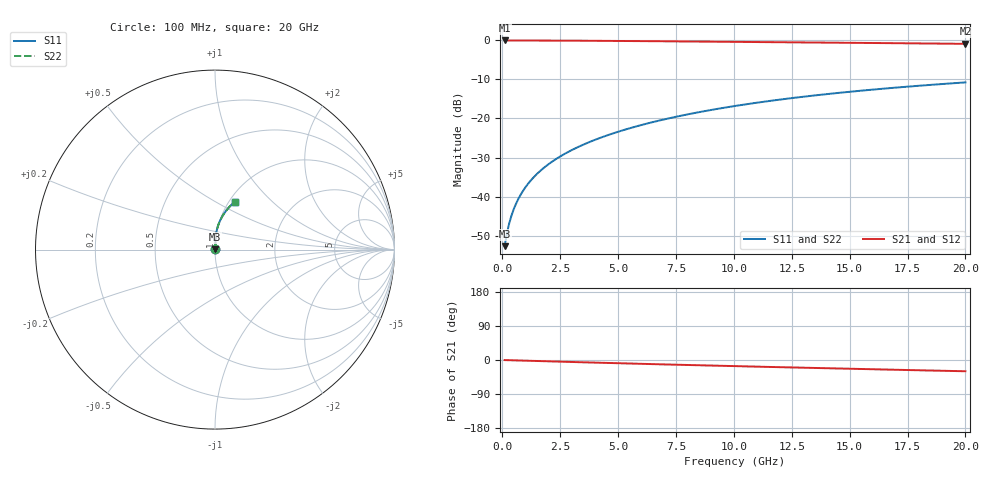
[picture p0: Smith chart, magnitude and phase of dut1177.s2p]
! Touchstone file exported from HFSS 2024.1.0
!  File:  C:/UserFiles/LocalFiles/RDL_TSV_Batchsim/temp_RDL_top_1177_1780049105.aedt
!  Generated:  06:07:26 PM May 29, 2026
!  Design:  RDL_top
!  Project:  temp_RDL_top_1177_1780049105
!  Setup:  Setup1
!  Solution:  Sweep
! Variables:
!  dtsv = 10.80580581um
!  hbump = 3um
!  htsv = 93.93um
!  ldown = 100um
!  lrdl = 393.94um
!  p = 40
!  p1 = 53.47um
!  rhole = 1um
!  t = 450um
!  tdown = 3.915915916um
!  trdl = 3.64um
!  wdown = 15.38538539um
!  wrdl = 23.79um
# GHz S MA R 50.000000
! Terminal data exported
! Port[1] = Box2_T1
! Port[2] = Box2_T2
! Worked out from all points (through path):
!   200 points, 100 MHz to 20 GHz, reference 50 ohm
!   highest |S21| = -0.02 dB at 100 MHz (marker M1); lowest = -0.9 dB at 20 GHz (marker M2)
!   group delay of S21, straight-line fit = 4.09 ps
!   lowest |S11| = -52.7 dB at 100 MHz (marker M3), VSWR 1.00, Z = 50.2 + j0.143 ohm
!   |S11| at or under -10 dB: start of sweep to end of sweep
!   |S22| runs from -52.7 to -10.8 dB; largest |S21 - S12| = 2.7e-15
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0.1  0.002314 37.9  0.9982 -0.2  0.9982 -0.2  0.002314 37.9
! Gamma 0 0 0 0
! Port Impedance 50 0 50 0
0.2  0.003381 55.4  0.9981 -0.4  0.9981 -0.4  0.003381 55.4
0.3  0.004555 63.8  0.9979 -0.5  0.9979 -0.5  0.004555 63.8
0.4  0.005751 68.8  0.9978 -0.7  0.9978 -0.7  0.005751 68.8
0.5  0.006959 72.2  0.9977 -0.9  0.9977 -0.9  0.006959 72.2
0.6  0.008178 74.7  0.9976 -1.1  0.9976 -1.1  0.008178 74.7
0.8  0.01065 78.1  0.9973 -1.4  0.9973 -1.4  0.01065 78.1
1.1  0.01442 81.2  0.9969 -1.9  0.9969 -1.9  0.01442 81.2
1.5  0.01953 83.5  0.9963 -2.6  0.9963 -2.6  0.01953 83.5
1.8  0.02341 84.6  0.9956 -3.2  0.9956 -3.2  0.02341 84.6
2.1  0.02734 85.4  0.9949 -3.7  0.9949 -3.7  0.02734 85.4
2.7  0.03532 86.4  0.9932 -4.7  0.9932 -4.7  0.03532 86.4
3.5  0.04624 87.0  0.9904 -6.1  0.9904 -6.1  0.04624 87.0
4.2  0.05606 87.1  0.9876 -7.2  0.9876 -7.2  0.05606 87.1
5  0.06757 86.9  0.9841 -8.5  0.9841 -8.5  0.06757 86.9
6.8  0.09441 85.7  0.9752 -11.4  0.9752 -11.4  0.09441 85.7
8.4  0.119 84.0  0.9668 -13.8  0.9668 -13.8  0.119 84.0
10.1  0.1454 81.8  0.9578 -16.3  0.9578 -16.3  0.1454 81.8
11.7  0.1701 79.5  0.9492 -18.6  0.9492 -18.6  0.1701 79.5
13.4  0.196 77.0  0.9401 -20.9  0.9401 -20.9  0.196 77.0
16.7  0.2443 72.1  0.9222 -25.4  0.9222 -25.4  0.2444 72.1
20  0.2897 67.3  0.9039 -29.7  0.9039 -29.7  0.2897 67.3
